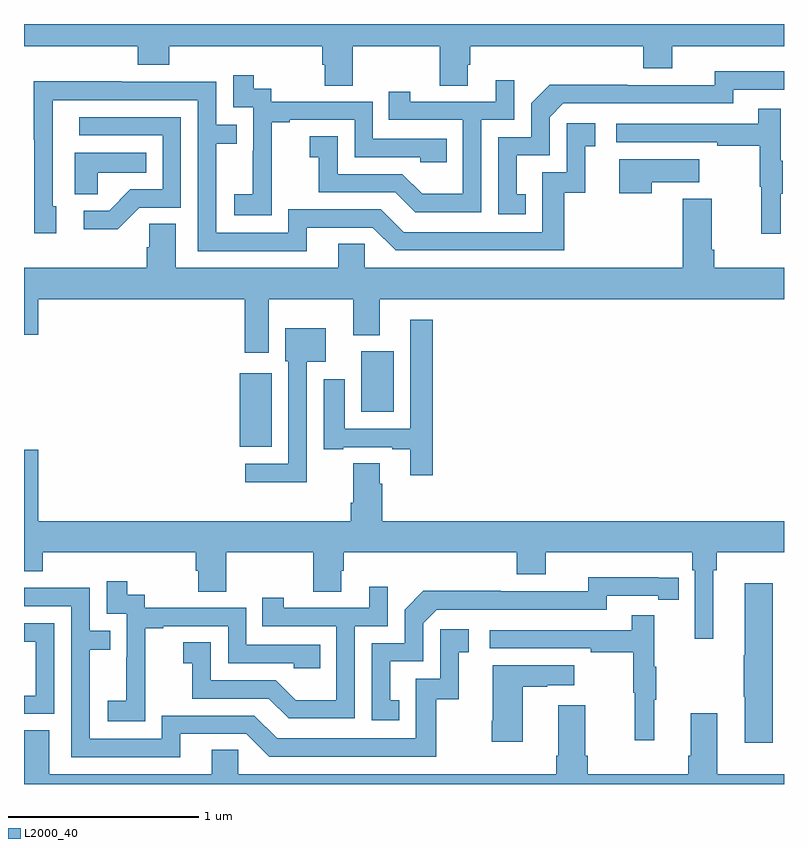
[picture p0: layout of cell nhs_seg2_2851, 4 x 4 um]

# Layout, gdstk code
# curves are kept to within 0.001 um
import gdstk
lib = gdstk.Library(unit=1e-6, precision=1e-09)
def R(c, l, rs):  # rectangles x0, y0, x1, y1
    for r in rs: c.add(gdstk.rectangle(r[:2], r[2:], *l))
def P(c, l, *ps):  # polygons
    for p in ps: c.add(gdstk.Polygon(p, *l))
L2000_40 = (2000, 40)

nhs_seg2_2851 = lib.new_cell('nhs_seg2_2851')
R(nhs_seg2_2851, L2000_40, [(262.136,597.575,262.303,597.961), (262.775,597.758,262.945,598.078)])
P(nhs_seg2_2851, L2000_40, [(263.188,599.476),(263.335,599.476),(263.335,599.586),(263.348,599.586),(263.348,599.684),(264.26,599.684),(264.26,599.567),(264.412,599.567),(264.412,599.684),(265,599.684),(265,599.8),(261,599.8),(261,599.684),(261.599,599.684),(261.599,599.585),(261.764,599.585),(261.764,599.684),(262.571,599.684),(262.571,599.586),(262.583,599.586),(262.583,599.476),(262.731,599.476),(262.731,599.684),(263.188,599.684)],
  [(263.642,598.905),(263.593,598.905),(263.593,599.109),(263.766,599.109),(263.766,599.31),(263.838,599.382),(264.732,599.382),(264.732,599.454),(265,599.454),(265,599.551),(264.636,599.551),(264.636,599.478),(264.176,599.478),(264.176,599.48),(263.768,599.48),(263.67,599.382),(263.67,599.205),(263.496,599.205),(263.496,598.8),(263.642,598.8)],
  [(262.305,598.999),(262.304,598.999),(262.304,599.283),(262.399,599.283),(262.399,599.295),(262.74,599.295),(262.74,599.1),(263.085,599.1),(263.085,599.073),(263.225,599.073),(263.225,599.196),(262.836,599.196),(262.836,599.391),(262.302,599.391),(262.302,599.46),(262.21,599.46),(262.21,599.53),(262.101,599.53),(262.101,599.361),(262.206,599.361),(262.206,599.132),(262.205,599.132),(262.205,598.903),(262.107,598.903),(262.107,598.793),(262.305,598.793)],
  [(263.406,599.295),(263.58,599.295),(263.58,599.503),(263.483,599.503),(263.483,599.391),(263.032,599.391),(263.032,599.443),(262.921,599.443),(262.921,599.295),(263.31,599.295),(263.31,598.906),(263.096,598.906),(262.992,599.01),(262.65,599.01),(262.65,599.209),(262.503,599.209),(262.503,599.099),(262.552,599.099),(262.552,598.914),(262.955,598.914),(263.06,598.809),(263.406,598.809)],
  [(262.489,598.728),(262.836,598.728),(262.956,598.608),(263.843,598.608),(263.843,598.911),(263.954,598.911),(263.954,599.157),(264.007,599.157),(264.007,599.278),(263.856,599.278),(263.856,599.019),(263.727,599.019),(263.727,598.704),(262.998,598.704),(262.878,598.824),(262.392,598.824),(262.392,598.701),(262.011,598.701),(262.011,599.17),(262.121,599.17),(262.121,599.271),(262.011,599.271),(262.011,599.496),(261.515,599.496),(261.515,599.498),(261.052,599.498),(261.052,599.191),(261.054,599.191),(261.054,598.698),(261.169,598.698),(261.169,598.842),(261.15,598.842),(261.15,599.4),(261.915,599.4),(261.915,598.605),(262.489,598.605)],
  [(264.983,598.907),(264.994,598.907),(264.994,599.081),(264.983,599.081),(264.983,599.353),(264.865,599.353),(264.865,599.274),(264.117,599.274),(264.117,599.178),(264.649,599.178),(264.649,599.158),(264.873,599.158),(264.873,598.944),(264.88,598.944),(264.88,598.695),(264.983,598.695)],
  [(261.606,598.833),(261.825,598.833),(261.825,599.31),(261.291,599.31),(261.291,599.214),(261.729,599.214),(261.729,598.929),(261.56,598.929),(261.449,598.818),(261.315,598.818),(261.315,598.721),(261.493,598.721)],
  [(261.387,599.018),(261.644,599.018),(261.644,599.122),(261.266,599.122),(261.266,598.903),(261.387,598.903)],
  [(264.305,598.967),(264.553,598.967),(264.553,599.089),(264.134,599.089),(264.134,598.908),(264.305,598.908)],
  [(262.288,598.352),(262.733,598.352),(262.733,598.163),(262.873,598.163),(262.873,598.352),(265,598.352),(265,598.516),(264.632,598.516),(264.632,598.612),(264.619,598.612),(264.619,598.879),(264.467,598.879),(264.467,598.516),(262.794,598.516),(262.794,598.643),(262.655,598.643),(262.655,598.516),(261.799,598.516),(261.799,598.748),(261.66,598.748),(261.66,598.625),(261.647,598.625),(261.647,598.516),(261,598.516),(261,598.164),(261.076,598.164),(261.076,598.352),(262.163,598.352),(262.163,598.071),(262.288,598.071)],
  [(263.15,598.243),(263.034,598.243),(263.034,597.669),(262.687,597.669),(262.687,597.931),(262.577,597.931),(262.577,597.561),(262.681,597.561),(262.681,597.573),(262.937,597.573),(262.937,597.561),(263.033,597.561),(263.033,597.426),(263.15,597.426)],
  [(262.488,598.022),(262.588,598.022),(262.588,598.198),(262.376,598.198),(262.376,598.026),(262.392,598.026),(262.392,597.486),(262.164,597.486),(262.164,597.389),(262.488,597.389)],
  [(263.594,596.903),(263.746,596.903),(263.746,597.02),(264.518,597.02),(264.518,596.924),(264.531,596.924),(264.531,596.565),(264.628,596.565),(264.628,596.924),(264.647,596.924),(264.647,597.02),(265,597.02),(265,597.184),(262.886,597.184),(262.886,597.38),(262.873,597.38),(262.873,597.488),(262.733,597.488),(262.733,597.28),(262.721,597.28),(262.721,597.184),(261.076,597.184),(261.076,597.559),(261,597.559),(261,596.921),(261.098,596.921),(261.098,597.02),(261.904,597.02),(261.904,596.922),(261.917,596.922),(261.917,596.812),(262.065,596.812),(262.065,597.02),(262.522,597.02),(262.522,596.812),(262.669,596.812),(262.669,596.922),(262.682,596.922),(262.682,597.02),(263.594,597.02)],
  [(262.976,596.241),(262.927,596.241),(262.927,596.445),(263.1,596.445),(263.1,596.646),(263.172,596.718),(264.066,596.718),(264.066,596.79),(264.338,596.79),(264.338,596.77),(264.446,596.77),(264.446,596.886),(263.97,596.887),(263.97,596.814),(263.51,596.814),(263.51,596.816),(263.102,596.816),(263.004,596.718),(263.004,596.541),(262.83,596.541),(262.83,596.136),(262.976,596.136)],
  [(261.639,596.335),(261.638,596.335),(261.638,596.619),(261.733,596.619),(261.733,596.631),(262.074,596.631),(262.074,596.436),(262.419,596.436),(262.419,596.409),(262.559,596.409),(262.559,596.532),(262.17,596.532),(262.17,596.727),(261.636,596.727),(261.636,596.796),(261.544,596.796),(261.544,596.866),(261.435,596.866),(261.435,596.697),(261.54,596.697),(261.54,596.468),(261.539,596.468),(261.539,596.239),(261.441,596.239),(261.441,596.129),(261.639,596.129)],
  [(264.94,596.857),(264.794,596.857),(264.794,596.477),(264.787,596.477),(264.787,596.26),(264.794,596.26),(264.794,596.016),(264.94,596.016)],
  [(262.74,596.631),(262.914,596.631),(262.914,596.839),(262.817,596.839),(262.817,596.727),(262.366,596.727),(262.366,596.779),(262.255,596.779),(262.255,596.631),(262.644,596.631),(262.644,596.242),(262.43,596.242),(262.326,596.346),(261.984,596.346),(261.984,596.545),(261.837,596.545),(261.837,596.435),(261.886,596.435),(261.886,596.25),(262.289,596.25),(262.394,596.145),(262.74,596.145)],
  [(261.823,596.064),(262.17,596.064),(262.29,595.944),(263.17,595.944),(263.17,596.247),(263.288,596.247),(263.288,596.493),(263.341,596.493),(263.341,596.614),(263.19,596.614),(263.19,596.355),(263.061,596.355),(263.061,596.04),(262.332,596.04),(262.212,596.16),(261.726,596.16),(261.726,596.037),(261.345,596.037),(261.345,596.506),(261.455,596.506),(261.455,596.607),(261.345,596.607),(261.345,596.832),(261,596.832),(261,596.736),(261.249,596.736),(261.249,595.941),(261.823,595.941)],
  [(264.317,596.243),(264.328,596.243),(264.328,596.417),(264.317,596.417),(264.317,596.689),(264.199,596.689),(264.199,596.61),(263.451,596.61),(263.451,596.514),(263.983,596.514),(263.983,596.494),(264.207,596.494),(264.207,596.28),(264.214,596.28),(264.214,596.031),(264.317,596.031)],
  [(261.159,596.646),(261,596.646),(261,596.55),(261.063,596.55),(261.063,596.265),(261,596.265),(261,596.169),(261.159,596.169)],
  [(263.626,596.311),(263.753,596.311),(263.753,596.321),(263.896,596.321),(263.896,596.425),(263.468,596.425),(263.468,596.134),(263.461,596.134),(263.461,596.022),(263.626,596.022)],
  [(265,595.852),(264.649,595.852),(264.649,596.173),(264.509,596.173),(264.509,595.948),(264.497,595.948),(264.497,595.852),(263.966,595.852),(263.966,595.948),(263.953,595.948),(263.953,596.215),(263.813,596.215),(263.813,595.948),(263.801,595.948),(263.801,595.852),(262.128,595.852),(262.128,595.979),(261.989,595.979),(261.989,595.852),(261.133,595.852),(261.133,596.084),(261,596.084),(261,595.8),(265,595.8)])

lib.write_gds('nhs_seg2_2851.gds')
